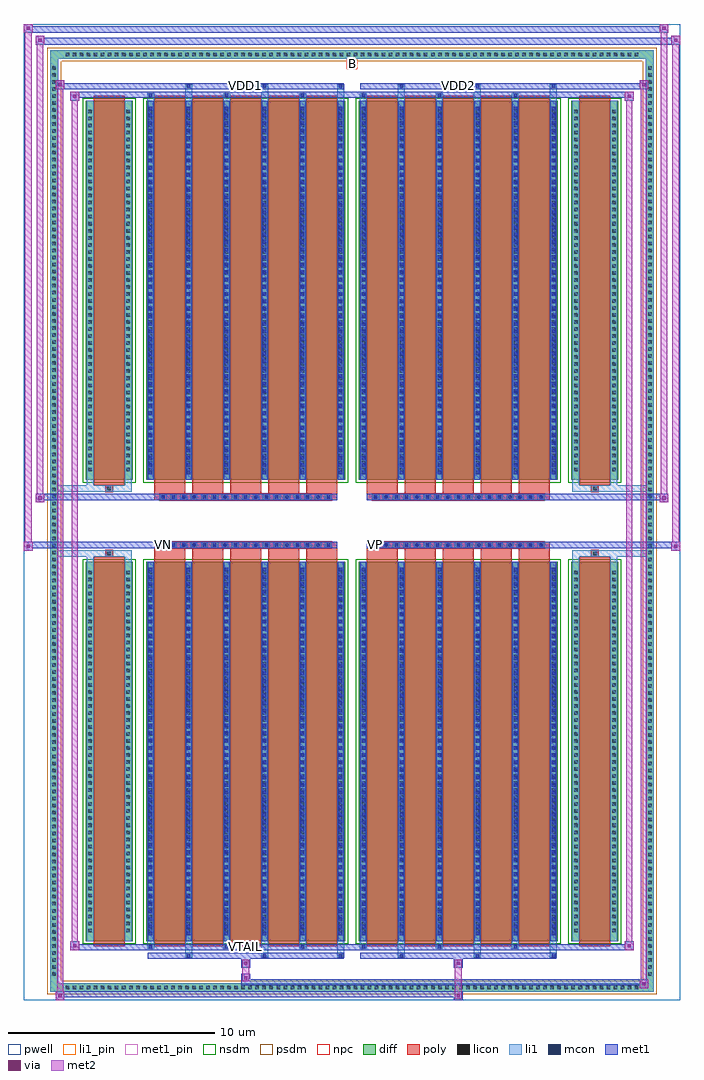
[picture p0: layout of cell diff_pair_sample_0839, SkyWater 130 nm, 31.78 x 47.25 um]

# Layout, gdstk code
import gdstk
lib = gdstk.Library(unit=1e-6, precision=5e-09)
def R(c, l, rs):  # rectangles x0, y0, x1, y1
    for r in rs: c.add(gdstk.rectangle(r[:2], r[2:], *l))
def A(c, l, x, y, w, h, nx, ny, dx, dy):  # array of equal rectangles
    R(c, l, [(x+i*dx, y+j*dy, x+i*dx+w, y+j*dy+h) for i in range(nx) for j in range(ny)])
def P(c, l, *ps):  # polygons
    for p in ps: c.add(gdstk.Polygon(p, *l))
pwell = (64, 44)
diff = (65, 20)
poly = (66, 20)
licon = (66, 44)
li1_pin = (67, 16)
li1 = (67, 20)
mcon = (67, 44)
met1_pin = (68, 16)
met1 = (68, 20)
via = (68, 44)
met2 = (69, 20)
nsdm = (93, 44)
psdm = (94, 20)
npc = (95, 20)

diff_pair_sample_0839 = lib.new_cell('diff_pair_sample_0839')
R(diff_pair_sample_0839, pwell, [(-15.89,-23.19,15.89,24.06), (-13.21,-21.38,-0.01,-0.8), (0.01,-21.38,13.21,-0.8), (-13.21,0.8,-0.01,21.38), (0.01,0.8,13.21,21.38)])
A(diff_pair_sample_0839, diff, -13.975, -22.79, 0.41, 0.41, 82, 2, 0.34, 45.17)
A(diff_pair_sample_0839, diff, -14.62, -22.135, 0.41, 0.41, 1, 130, 0, 0.34)
A(diff_pair_sample_0839, diff, 14.21, -22.135, 0.41, 0.41, 1, 130, 0, 0.34)
R(diff_pair_sample_0839, diff, [(-13.975,-22.79,13.975,-22.38), (-14.62,-22.135,-14.21,22.135), (14.21,-22.135,14.62,22.135), (-12.9,-20.335,-10.61,-1.985), (-9.97,-20.335,-0.32,-1.985), (0.32,-20.335,9.97,-1.985), (10.61,-20.335,12.9,-1.985), (-12.9,1.985,-10.61,20.335), (-9.97,1.985,-0.32,20.335), (0.32,1.985,9.97,20.335), (10.61,1.985,12.9,20.335), (-13.975,22.38,13.975,22.79)])
P(diff_pair_sample_0839, diff, [(14.62,22.79),(-14.62,22.79),(-14.62,-22.38),(-14.21,-22.38),(-14.21,22.38),(14.21,22.38),(14.21,-22.38),(-14.21,-22.38),(-14.62,-22.38),(-14.62,-22.79),(14.62,-22.79)])
A(diff_pair_sample_0839, poly, -9.58, -20.585, 1.51, 18.85, 5, 2, 1.84, 22.32)
A(diff_pair_sample_0839, poly, 0.71, -20.585, 1.51, 18.85, 5, 2, 1.84, 22.32)
A(diff_pair_sample_0839, poly, -9.58, -1.735, 1.51, 0.405, 5, 2, 1.84, 3.065)
A(diff_pair_sample_0839, poly, 0.71, -1.735, 1.51, 0.405, 5, 2, 1.84, 3.065)
A(diff_pair_sample_0839, poly, -9.31, -1.33, 0.33, 0.33, 17, 2, 0.5, 2.33)
A(diff_pair_sample_0839, poly, 0.98, -1.33, 0.33, 0.33, 17, 2, 0.5, 2.33)
R(diff_pair_sample_0839, poly, [(-12.51,-20.585,-11,-1.735), (11,-20.585,12.51,-1.735), (-11.92,-1.735,-11.59,-1.405), (-11.92,-1.735,-11.59,-1.405), (11.59,-1.735,11.92,-1.405), (11.59,-1.735,11.92,-1.405), (-9.58,-1.33,-0.71,-1), (0.71,-1.33,9.58,-1), (-9.58,1,-0.71,1.33), (0.71,1,9.58,1.33), (-11.92,1.405,-11.59,1.735), (-11.92,1.405,-11.59,1.735), (11.59,1.405,11.92,1.735), (11.59,1.405,11.92,1.735), (-12.51,1.735,-11,20.585), (11,1.735,12.51,20.585)])
A(diff_pair_sample_0839, licon, -13.855, -22.67, 0.17, 0.17, 82, 2, 0.34, 45.17)
A(diff_pair_sample_0839, licon, -14.5, -22.015, 0.17, 0.17, 1, 130, 0, 0.34)
A(diff_pair_sample_0839, licon, 14.33, -22.015, 0.17, 0.17, 1, 130, 0, 0.34)
A(diff_pair_sample_0839, licon, -12.76, -19.915, 0.17, 0.17, 1, 52, 0, 0.34)
A(diff_pair_sample_0839, licon, -10.92, -19.915, 0.17, 0.17, 1, 52, 0, 0.34)
A(diff_pair_sample_0839, licon, -9.83, -19.915, 0.17, 0.17, 6, 52, 1.84, 0.34)
A(diff_pair_sample_0839, licon, 0.46, -19.915, 0.17, 0.17, 6, 52, 1.84, 0.34)
A(diff_pair_sample_0839, licon, 10.75, -19.915, 0.17, 0.17, 1, 52, 0, 0.34)
A(diff_pair_sample_0839, licon, 12.59, -19.915, 0.17, 0.17, 1, 52, 0, 0.34)
A(diff_pair_sample_0839, licon, -9.23, -1.25, 0.17, 0.17, 17, 2, 0.5, 2.33)
A(diff_pair_sample_0839, licon, 1.06, -1.25, 0.17, 0.17, 17, 2, 0.5, 2.33)
A(diff_pair_sample_0839, licon, -12.76, 2.405, 0.17, 0.17, 1, 52, 0, 0.34)
A(diff_pair_sample_0839, licon, -10.92, 2.405, 0.17, 0.17, 1, 52, 0, 0.34)
A(diff_pair_sample_0839, licon, -9.83, 2.405, 0.17, 0.17, 6, 52, 1.84, 0.34)
A(diff_pair_sample_0839, licon, 0.46, 2.405, 0.17, 0.17, 6, 52, 1.84, 0.34)
A(diff_pair_sample_0839, licon, 10.75, 2.405, 0.17, 0.17, 1, 52, 0, 0.34)
A(diff_pair_sample_0839, licon, 12.59, 2.405, 0.17, 0.17, 1, 52, 0, 0.34)
R(diff_pair_sample_0839, licon, [(-11.84,-1.655,-11.67,-1.485), (11.67,-1.655,11.84,-1.485), (-11.84,1.485,-11.67,1.655), (11.67,1.485,11.84,1.655)])
R(diff_pair_sample_0839, li1_pin, [(-0.25,21.88,0.25,22.38)])
A(diff_pair_sample_0839, li1, -13.935, -22.75, 0.33, 0.33, 82, 2, 0.34, 45.17)
A(diff_pair_sample_0839, li1, -14.58, -22.095, 0.33, 0.33, 1, 130, 0, 0.34)
A(diff_pair_sample_0839, li1, 14.25, -22.095, 0.33, 0.33, 1, 130, 0, 0.34)
A(diff_pair_sample_0839, li1, -8.07, -21.14, 0.33, 0.805, 3, 2, 3.68, 41.475)
A(diff_pair_sample_0839, li1, -7.99, -21.14, 0.17, 0.17, 3, 2, 3.68, 42.11)
A(diff_pair_sample_0839, li1, 2.22, -21.14, 0.33, 0.805, 3, 2, 3.68, 41.475)
A(diff_pair_sample_0839, li1, 2.3, -21.14, 0.17, 0.17, 3, 2, 3.68, 42.11)
A(diff_pair_sample_0839, li1, -9.91, -20.71, 0.33, 0.375, 3, 2, 3.68, 41.045)
A(diff_pair_sample_0839, li1, -9.83, -20.71, 0.17, 0.17, 3, 2, 3.68, 41.25)
A(diff_pair_sample_0839, li1, 0.38, -20.71, 0.33, 0.375, 3, 2, 3.68, 41.045)
A(diff_pair_sample_0839, li1, 0.46, -20.71, 0.17, 0.17, 3, 2, 3.68, 41.25)
A(diff_pair_sample_0839, li1, -9.91, -20.335, 0.33, 18.35, 6, 2, 1.84, 22.32)
A(diff_pair_sample_0839, li1, 0.38, -20.335, 0.33, 18.35, 6, 2, 1.84, 22.32)
A(diff_pair_sample_0839, li1, -9.83, -20.065, 0.17, 0.17, 6, 50, 1.84, 0.36)
A(diff_pair_sample_0839, li1, -9.83, -20.065, 0.17, 17.81, 6, 2, 1.84, 22.32)
A(diff_pair_sample_0839, li1, 0.46, -20.065, 0.17, 0.17, 6, 50, 1.84, 0.36)
A(diff_pair_sample_0839, li1, 0.46, -20.065, 0.17, 17.81, 6, 2, 1.84, 22.32)
A(diff_pair_sample_0839, li1, -12.84, -19.995, 0.33, 0.33, 1, 52, 0, 0.34)
A(diff_pair_sample_0839, li1, -11, -19.995, 0.33, 0.33, 1, 52, 0, 0.34)
A(diff_pair_sample_0839, li1, -9.91, -19.995, 0.33, 0.33, 6, 52, 1.84, 0.34)
A(diff_pair_sample_0839, li1, 0.38, -19.995, 0.33, 0.33, 6, 52, 1.84, 0.34)
A(diff_pair_sample_0839, li1, 10.67, -19.995, 0.33, 0.33, 1, 52, 0, 0.34)
A(diff_pair_sample_0839, li1, 12.51, -19.995, 0.33, 0.33, 1, 52, 0, 0.34)
A(diff_pair_sample_0839, li1, -9.31, -1.33, 0.33, 0.33, 17, 2, 0.5, 2.33)
A(diff_pair_sample_0839, li1, 0.98, -1.33, 0.33, 0.33, 17, 2, 0.5, 2.33)
A(diff_pair_sample_0839, li1, -9.83, 2.255, 0.17, 0.17, 6, 50, 1.84, 0.36)
A(diff_pair_sample_0839, li1, 0.46, 2.255, 0.17, 0.17, 6, 50, 1.84, 0.36)
A(diff_pair_sample_0839, li1, -12.84, 2.325, 0.33, 0.33, 1, 52, 0, 0.34)
A(diff_pair_sample_0839, li1, -11, 2.325, 0.33, 0.33, 1, 52, 0, 0.34)
A(diff_pair_sample_0839, li1, -9.91, 2.325, 0.33, 0.33, 6, 52, 1.84, 0.34)
A(diff_pair_sample_0839, li1, 0.38, 2.325, 0.33, 0.33, 6, 52, 1.84, 0.34)
A(diff_pair_sample_0839, li1, 10.67, 2.325, 0.33, 0.33, 1, 52, 0, 0.34)
A(diff_pair_sample_0839, li1, 12.51, 2.325, 0.33, 0.33, 1, 52, 0, 0.34)
R(diff_pair_sample_0839, li1, [(-14.62,-22.79,-14.21,-22.38), (-14.62,-22.79,-14.21,-22.38), (-14.21,-22.79,14.21,-22.38), (14.21,-22.79,14.62,-22.38), (14.21,-22.79,14.62,-22.38), (-14.62,-22.38,-14.21,22.38), (14.21,-22.38,14.62,22.38), (-12.84,-20.335,-12.51,-1.985), (-11,-20.335,-10.67,-1.985), (10.67,-20.335,11,-1.985), (12.51,-20.335,12.84,-1.985), (-12.84,-1.985,-12.51,-1.405), (-11,-1.985,-10.67,-1.405), (10.67,-1.985,11,-1.405), (12.51,-1.985,12.84,-1.405), (-14.62,-1.735,-11.92,-1.405), (-12.84,-1.735,-11.92,-1.405), (-11.92,-1.735,-11.59,-1.405), (-11.59,-1.735,-10.67,-1.405), (10.67,-1.735,11.59,-1.405), (11.59,-1.735,11.92,-1.405), (11.59,-1.735,14.62,-1.405), (11.92,-1.735,12.84,-1.405), (-14.62,1.405,-11.92,1.735), (-12.84,1.405,-11.92,1.735), (-12.84,1.405,-12.51,1.985), (-11.92,1.405,-11.59,1.735), (-11.59,1.405,-10.67,1.735), (-11,1.405,-10.67,1.985), (10.67,1.405,11.59,1.735), (10.67,1.405,11,1.985), (11.59,1.405,11.92,1.735), (11.59,1.405,14.62,1.735), (11.92,1.405,12.84,1.735), (12.51,1.405,12.84,1.985), (-12.84,1.985,-12.51,20.335), (-11,1.985,-10.67,20.335), (10.67,1.985,11,20.335), (12.51,1.985,12.84,20.335), (-14.62,22.38,-14.21,22.79), (-14.62,22.38,-14.21,22.79), (-14.21,22.38,14.21,22.79), (14.21,22.38,14.62,22.79), (14.21,22.38,14.62,22.79)])
A(diff_pair_sample_0839, mcon, -7.99, -21.14, 0.17, 0.17, 3, 2, 3.68, 42.11)
A(diff_pair_sample_0839, mcon, 2.3, -21.14, 0.17, 0.17, 3, 2, 3.68, 42.11)
A(diff_pair_sample_0839, mcon, -9.83, -20.71, 0.17, 0.17, 3, 2, 3.68, 41.25)
A(diff_pair_sample_0839, mcon, 0.46, -20.71, 0.17, 0.17, 3, 2, 3.68, 41.25)
A(diff_pair_sample_0839, mcon, -9.83, -20.065, 0.17, 0.17, 6, 50, 1.84, 0.36)
A(diff_pair_sample_0839, mcon, 0.46, -20.065, 0.17, 0.17, 6, 50, 1.84, 0.36)
A(diff_pair_sample_0839, mcon, -9.23, -1.25, 0.17, 0.17, 17, 2, 0.5, 2.33)
A(diff_pair_sample_0839, mcon, 1.06, -1.25, 0.17, 0.17, 17, 2, 0.5, 2.33)
A(diff_pair_sample_0839, mcon, -9.83, 2.255, 0.17, 0.17, 6, 50, 1.84, 0.36)
A(diff_pair_sample_0839, mcon, 0.46, 2.255, 0.17, 0.17, 6, 50, 1.84, 0.36)
R(diff_pair_sample_0839, met1_pin, [(-5.28,-20.75,-5.01,-20.48), (-9.28,-1.29,-9.01,-1.02), (1.01,-1.29,1.28,-1.02), (-5.28,20.93,-5.01,21.2), (5.01,20.93,5.28,21.2)])
A(diff_pair_sample_0839, met1, -8.05, -21.2, 0.29, 0.29, 3, 2, 3.68, 42.11)
A(diff_pair_sample_0839, met1, 2.24, -21.2, 0.29, 0.29, 3, 2, 3.68, 42.11)
A(diff_pair_sample_0839, met1, -9.89, -20.77, 0.29, 0.29, 3, 2, 3.68, 41.25)
A(diff_pair_sample_0839, met1, 0.4, -20.77, 0.29, 0.29, 3, 2, 3.68, 41.25)
A(diff_pair_sample_0839, met1, -9.89, -20.335, 0.29, 18.35, 6, 2, 1.84, 22.32)
A(diff_pair_sample_0839, met1, 0.4, -20.335, 0.29, 18.35, 6, 2, 1.84, 22.32)
A(diff_pair_sample_0839, met1, -9.89, -20.125, 0.29, 0.29, 6, 50, 1.84, 0.36)
A(diff_pair_sample_0839, met1, 0.4, -20.125, 0.29, 0.29, 6, 50, 1.84, 0.36)
A(diff_pair_sample_0839, met1, -9.29, -1.31, 0.29, 0.29, 17, 2, 0.5, 2.33)
A(diff_pair_sample_0839, met1, 1, -1.31, 0.29, 0.29, 17, 2, 0.5, 2.33)
A(diff_pair_sample_0839, met1, -9.89, 2.195, 0.29, 0.29, 6, 50, 1.84, 0.36)
A(diff_pair_sample_0839, met1, 0.4, 2.195, 0.29, 0.29, 6, 50, 1.84, 0.36)
R(diff_pair_sample_0839, met1, [(-14.35,-23.19,-13.92,-22.76), (4.93,-23.19,5.36,-22.76), (-14.35,-23.05,5.36,-22.76), (13.92,-22.62,14.35,-22.19), (-5.36,-22.48,14.35,-22.19), (-5.36,-22.34,-4.93,-21.91), (-5.36,-21.63,-4.93,-21.2), (4.93,-21.63,5.36,-21.2), (-9.89,-21.2,-0.4,-20.91), (0.4,-21.2,9.89,-20.91), (-13.64,-20.77,-13.21,-20.34), (-13.64,-20.77,-9.89,-20.48), (-9.89,-20.77,-0.4,-20.48), (-0.4,-20.77,0.4,-20.48), (0.4,-20.77,9.89,-20.48), (9.89,-20.77,13.64,-20.48), (13.21,-20.77,13.64,-20.34), (-15.89,-1.43,-15.46,-1), (15.46,-1.43,15.89,-1), (-15.89,-1.33,-0.71,-1), (-9.58,-1.33,-0.71,-1), (0.71,-1.33,9.58,-1), (0.71,-1.33,15.89,-1), (-15.32,0.9,-14.89,1.33), (14.89,0.9,15.32,1.33), (-15.32,1,-9.58,1.33), (-9.58,1,-0.71,1.33), (0.71,1,9.58,1.33), (9.58,1,15.32,1.33), (-13.64,20.34,-13.21,20.77), (13.21,20.34,13.64,20.77), (-13.64,20.48,-9.89,20.77), (-9.89,20.48,-0.4,20.77), (-0.4,20.48,0.4,20.77), (0.4,20.48,9.89,20.77), (9.89,20.48,13.64,20.77), (-14.35,20.91,-13.92,21.34), (-14.35,20.91,-9.89,21.2), (-9.89,20.91,-0.4,21.2), (0.4,20.91,9.89,21.2), (9.89,20.91,14.35,21.2), (13.92,20.91,14.35,21.34), (-15.32,23.06,-14.89,23.49), (-15.32,23.06,-13.21,23.39), (-13.21,23.06,13.21,23.39), (13.21,23.06,15.89,23.39), (15.46,23.06,15.89,23.49), (-15.89,23.63,-15.46,24.06), (-15.89,23.63,-13.21,23.96), (-13.21,23.63,13.21,23.96), (13.21,23.63,15.32,23.96), (14.89,23.63,15.32,24.06)])
R(diff_pair_sample_0839, via, [(-14.21,-23.05,-14.06,-22.9), (5.07,-23.05,5.22,-22.9), (14.06,-22.48,14.21,-22.33), (-5.22,-22.2,-5.07,-22.05), (-5.22,-21.49,-5.07,-21.34), (5.07,-21.49,5.22,-21.34), (-13.5,-20.63,-13.35,-20.48), (13.35,-20.63,13.5,-20.48), (-15.75,-1.29,-15.6,-1.14), (15.6,-1.29,15.75,-1.14), (-15.18,1.04,-15.03,1.19), (15.03,1.04,15.18,1.19), (-13.5,20.48,-13.35,20.63), (13.35,20.48,13.5,20.63), (-14.21,21.05,-14.06,21.2), (14.06,21.05,14.21,21.2), (-15.18,23.2,-15.03,23.35), (15.6,23.2,15.75,23.35), (-15.75,23.77,-15.6,23.92), (15.03,23.77,15.18,23.92)])
R(diff_pair_sample_0839, met2, [(-14.35,-23.19,-13.92,-22.76), (-14.28,-23.19,-13.99,21.34), (-13.99,-23.19,-13.92,-22.76), (-14.3,-23.14,-13.97,-22.81), (4.98,-23.14,5.31,-22.81), (4.98,-22.81,5.31,-21.58), (13.92,-22.62,14.35,-22.19), (13.99,-22.62,14.28,21.34), (14.28,-22.62,14.35,-22.19), (13.97,-22.57,14.3,-22.24), (-5.31,-22.29,-4.98,-21.96), (-5.31,-21.96,-4.98,-21.58), (-5.31,-21.58,-4.98,-21.25), (4.98,-21.58,5.31,-21.25), (-13.64,-20.77,-13.21,-20.34), (-13.57,-20.77,-13.28,20.77), (-13.28,-20.77,-13.21,-20.34), (13.21,-20.77,13.64,-20.34), (13.28,-20.77,13.57,20.77), (13.57,-20.77,13.64,-20.34), (-13.59,-20.72,-13.26,-20.39), (13.26,-20.72,13.59,-20.39), (-15.89,-1.43,-15.46,-1), (-15.84,-1.43,-15.51,24.06), (-15.51,-1.43,-15.46,-1), (15.46,-1.43,15.89,-1), (15.51,-1.43,15.84,23.49), (15.84,-1.43,15.89,-1), (-15.84,-1.38,-15.51,-1.05), (15.51,-1.38,15.84,-1.05), (-15.32,0.9,-14.89,1.33), (-15.27,0.9,-14.94,23.49), (-14.94,0.9,-14.89,1.33), (14.89,0.9,15.32,1.33), (14.94,0.9,15.27,24.06), (15.27,0.9,15.32,1.33), (-15.27,0.95,-14.94,1.28), (14.94,0.95,15.27,1.28), (-13.64,20.34,-13.21,20.77), (-13.28,20.34,-13.21,20.77), (13.21,20.34,13.64,20.77), (13.57,20.34,13.64,20.77), (-13.59,20.39,-13.26,20.72), (13.26,20.39,13.59,20.72), (-14.35,20.91,-13.92,21.34), (-13.99,20.91,-13.92,21.34), (13.92,20.91,14.35,21.34), (14.28,20.91,14.35,21.34), (-14.3,20.96,-13.97,21.29), (13.97,20.96,14.3,21.29), (-15.32,23.06,-14.89,23.49), (-14.94,23.06,-14.89,23.49), (15.46,23.06,15.89,23.49), (15.84,23.06,15.89,23.49), (-15.27,23.11,-14.94,23.44), (15.51,23.11,15.84,23.44), (-15.89,23.63,-15.46,24.06), (-15.51,23.63,-15.46,24.06), (14.89,23.63,15.32,24.06), (15.27,23.63,15.32,24.06), (-15.84,23.68,-15.51,24.01), (14.94,23.68,15.27,24.01)])
R(diff_pair_sample_0839, nsdm, [(-13.03,-20.465,-10.48,-1.855), (-10.1,-20.465,-0.19,-1.855), (0.19,-20.465,10.1,-1.855), (10.48,-20.465,13.03,-1.855), (-13.03,1.855,-10.48,20.465), (-10.1,1.855,-0.19,20.465), (0.19,1.855,10.1,20.465), (10.48,1.855,13.03,20.465)])
P(diff_pair_sample_0839, psdm, [(14.75,22.92),(-14.75,22.92),(-14.75,-22.25),(-14.08,-22.25),(-14.08,22.25),(14.08,22.25),(14.08,-22.25),(-14.08,-22.25),(-14.75,-22.25),(-14.75,-22.92),(14.75,-22.92)])
A(diff_pair_sample_0839, npc, -9.33, -1.35, 0.37, 0.37, 17, 2, 0.5, 2.33)
A(diff_pair_sample_0839, npc, 0.96, -1.35, 0.37, 0.37, 17, 2, 0.5, 2.33)
R(diff_pair_sample_0839, npc, [(-11.94,-1.755,-11.57,-1.385), (11.57,-1.755,11.94,-1.385), (-9.33,-1.35,-8.46,-0.98), (-9.33,-1.35,-8.46,-0.98), (-8.83,-1.35,-7.96,-0.98), (-8.83,-1.35,-7.96,-0.98), (-8.33,-1.35,-7.46,-0.98), (-8.33,-1.35,-7.46,-0.98), (-7.83,-1.35,-6.96,-0.98), (-7.83,-1.35,-6.96,-0.98), (-7.33,-1.35,-6.46,-0.98), (-7.33,-1.35,-6.46,-0.98), (-6.83,-1.35,-5.96,-0.98), (-6.83,-1.35,-5.96,-0.98), (-6.33,-1.35,-5.46,-0.98), (-6.33,-1.35,-5.46,-0.98), (-5.83,-1.35,-4.96,-0.98), (-5.83,-1.35,-4.96,-0.98), (-5.33,-1.35,-4.46,-0.98), (-5.33,-1.35,-4.46,-0.98), (-4.83,-1.35,-3.96,-0.98), (-4.83,-1.35,-3.96,-0.98), (-4.33,-1.35,-3.46,-0.98), (-4.33,-1.35,-3.46,-0.98), (-3.83,-1.35,-2.96,-0.98), (-3.83,-1.35,-2.96,-0.98), (-3.33,-1.35,-2.46,-0.98), (-3.33,-1.35,-2.46,-0.98), (-2.83,-1.35,-1.96,-0.98), (-2.83,-1.35,-1.96,-0.98), (-2.33,-1.35,-1.46,-0.98), (-2.33,-1.35,-1.46,-0.98), (-1.83,-1.35,-0.96,-0.98), (-1.83,-1.35,-0.96,-0.98), (0.96,-1.35,1.83,-0.98), (0.96,-1.35,1.83,-0.98), (1.46,-1.35,2.33,-0.98), (1.46,-1.35,2.33,-0.98), (1.96,-1.35,2.83,-0.98), (1.96,-1.35,2.83,-0.98), (2.46,-1.35,3.33,-0.98), (2.46,-1.35,3.33,-0.98), (2.96,-1.35,3.83,-0.98), (2.96,-1.35,3.83,-0.98), (3.46,-1.35,4.33,-0.98), (3.46,-1.35,4.33,-0.98), (3.96,-1.35,4.83,-0.98), (3.96,-1.35,4.83,-0.98), (4.46,-1.35,5.33,-0.98), (4.46,-1.35,5.33,-0.98), (4.96,-1.35,5.83,-0.98), (4.96,-1.35,5.83,-0.98), (5.46,-1.35,6.33,-0.98), (5.46,-1.35,6.33,-0.98), (5.96,-1.35,6.83,-0.98), (5.96,-1.35,6.83,-0.98), (6.46,-1.35,7.33,-0.98), (6.46,-1.35,7.33,-0.98), (6.96,-1.35,7.83,-0.98), (6.96,-1.35,7.83,-0.98), (7.46,-1.35,8.33,-0.98), (7.46,-1.35,8.33,-0.98), (7.96,-1.35,8.83,-0.98), (7.96,-1.35,8.83,-0.98), (8.46,-1.35,9.33,-0.98), (8.46,-1.35,9.33,-0.98), (-9.33,0.98,-8.46,1.35), (-9.33,0.98,-8.46,1.35), (-8.83,0.98,-7.96,1.35), (-8.83,0.98,-7.96,1.35), (-8.33,0.98,-7.46,1.35), (-8.33,0.98,-7.46,1.35), (-7.83,0.98,-6.96,1.35), (-7.83,0.98,-6.96,1.35), (-7.33,0.98,-6.46,1.35), (-7.33,0.98,-6.46,1.35), (-6.83,0.98,-5.96,1.35), (-6.83,0.98,-5.96,1.35), (-6.33,0.98,-5.46,1.35), (-6.33,0.98,-5.46,1.35), (-5.83,0.98,-4.96,1.35), (-5.83,0.98,-4.96,1.35), (-5.33,0.98,-4.46,1.35), (-5.33,0.98,-4.46,1.35), (-4.83,0.98,-3.96,1.35), (-4.83,0.98,-3.96,1.35), (-4.33,0.98,-3.46,1.35), (-4.33,0.98,-3.46,1.35), (-3.83,0.98,-2.96,1.35), (-3.83,0.98,-2.96,1.35), (-3.33,0.98,-2.46,1.35), (-3.33,0.98,-2.46,1.35), (-2.83,0.98,-1.96,1.35), (-2.83,0.98,-1.96,1.35), (-2.33,0.98,-1.46,1.35), (-2.33,0.98,-1.46,1.35), (-1.83,0.98,-0.96,1.35), (-1.83,0.98,-0.96,1.35), (0.96,0.98,1.83,1.35), (0.96,0.98,1.83,1.35), (1.46,0.98,2.33,1.35), (1.46,0.98,2.33,1.35), (1.96,0.98,2.83,1.35), (1.96,0.98,2.83,1.35), (2.46,0.98,3.33,1.35), (2.46,0.98,3.33,1.35), (2.96,0.98,3.83,1.35), (2.96,0.98,3.83,1.35), (3.46,0.98,4.33,1.35), (3.46,0.98,4.33,1.35), (3.96,0.98,4.83,1.35), (3.96,0.98,4.83,1.35), (4.46,0.98,5.33,1.35), (4.46,0.98,5.33,1.35), (4.96,0.98,5.83,1.35), (4.96,0.98,5.83,1.35), (5.46,0.98,6.33,1.35), (5.46,0.98,6.33,1.35), (5.96,0.98,6.83,1.35), (5.96,0.98,6.83,1.35), (6.46,0.98,7.33,1.35), (6.46,0.98,7.33,1.35), (6.96,0.98,7.83,1.35), (6.96,0.98,7.83,1.35), (7.46,0.98,8.33,1.35), (7.46,0.98,8.33,1.35), (7.96,0.98,8.83,1.35), (7.96,0.98,8.83,1.35), (8.46,0.98,9.33,1.35), (8.46,0.98,9.33,1.35), (-11.94,1.385,-11.57,1.755), (11.57,1.385,11.94,1.755)])
diff_pair_sample_0839.add(gdstk.Label('VTAIL', (-5.145,-20.615), layer=68, texttype=5))
diff_pair_sample_0839.add(gdstk.Label('VN', (-9.145,-1.155), layer=68, texttype=5))
diff_pair_sample_0839.add(gdstk.Label('VP', (1.145,-1.155), layer=68, texttype=5))
diff_pair_sample_0839.add(gdstk.Label('B', (0,22.13), layer=67, texttype=5))
diff_pair_sample_0839.add(gdstk.Label('VDD2', (5.145,21.065), layer=68, texttype=5))
diff_pair_sample_0839.add(gdstk.Label('VDD1', (-5.145,21.065), layer=68, texttype=5))

lib.write_gds('diff_pair_sample_0839.gds')
